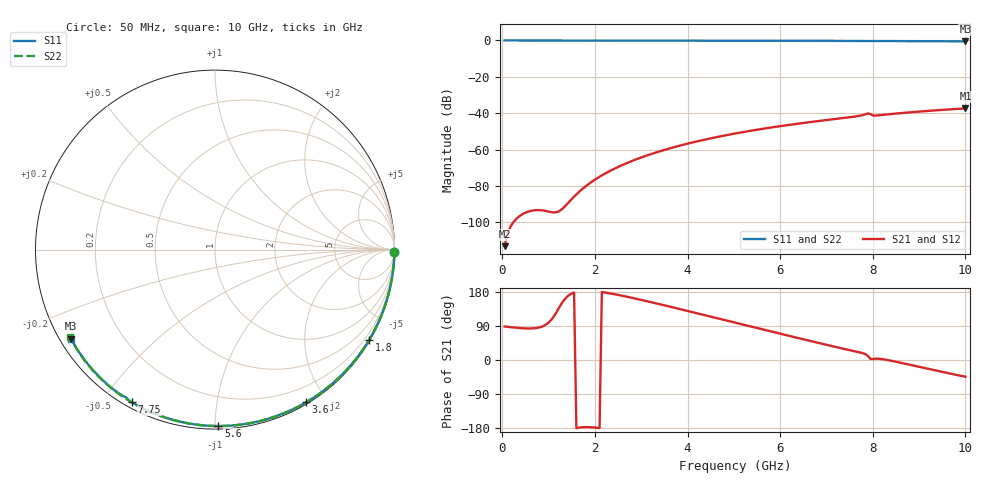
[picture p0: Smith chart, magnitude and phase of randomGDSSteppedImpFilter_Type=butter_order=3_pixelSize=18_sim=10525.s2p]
! freq	dB(S11)	phase(S11)	dB(S12)	phase(S12)
!  dB(S21)	phase(S21)	dB(S22)	phase(S22)
!S-par simulation data
#  GHz  S  DB  R 50
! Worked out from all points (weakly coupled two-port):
!   200 points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, 50 MHz to 10 GHz, reference 50 ohm
!   highest |S21| = -37.39 dB at 10 GHz (marker M1); lowest = -113.1 dB at 50 MHz (marker M2)
!   lowest |S11| = -0.5 dB at 10 GHz (marker M3), VSWR 34.09, Z = 1.58 - j14.2 ohm
!   |S11| at or under -10 dB: nowhere
!   |S22| runs from -0.5 to 0.0 dB; largest |S21 - S12| = 0
!   S11 on the Smith chart (normalised r, x): 50 MHz: open; 1.8 GHz: 0.03, -3.69; 3.6 GHz: 0.02, -1.76; 5.6 GHz: 0.02, -1.02; 7.75 GHz: 0.02, -0.59; 10 GHz: 0.03, -0.28
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0.05  -0.00 -0.9  -113.06 88.4  -113.06 88.4  -0.00 -0.9
0.9  -0.02 -15.3  -93.50 90.4  -93.50 90.4  -0.02 -15.5
1.75  -0.04 -29.5  -81.17 -177.2  -81.17 -177.2  -0.04 -29.8
1.8  -0.04 -30.3  -80.14 -177.1  -80.14 -177.1  -0.04 -30.7
2.15  -0.05 -36.1  -74.16 179.4  -74.16 179.4  -0.05 -36.5
2.5  -0.05 -41.7  -69.52 171.8  -69.52 171.8  -0.05 -42.2
2.9  -0.06 -48.2  -65.25 161.4  -65.25 161.4  -0.06 -48.7
3.4  -0.07 -56.0  -60.92 147.2  -60.92 147.2  -0.07 -56.6
3.6  -0.08 -59.1  -59.42 141.3  -59.42 141.3  -0.08 -59.7
4.3  -0.10 -69.8  -54.92 120.4  -54.92 120.4  -0.10 -70.5
5.05  -0.12 -80.9  -51.04 97.9  -51.04 97.9  -0.12 -81.7
5.6  -0.15 -88.9  -48.65 81.3  -48.65 81.3  -0.15 -89.6
6.15  -0.17 -96.6  -46.55 65.0  -46.55 65.0  -0.17 -97.4
6.7  -0.20 -104.3  -44.69 48.8  -44.69 48.8  -0.20 -105.0
7.5  -0.26 -115.1  -42.22 25.9  -42.22 25.9  -0.25 -115.9
7.75  -0.28 -118.6  -41.23 19.1  -41.23 19.1  -0.27 -119.2
7.9  -0.33 -120.7  -40.09 9.7  -40.09 9.7  -0.28 -121.2
8  -0.34 -121.6  -41.17 2.5  -41.17 2.5  -0.29 -122.5
8.05  -0.32 -122.3  -41.31 3.5  -41.31 3.5  -0.30 -123.2
8.35  -0.33 -126.4  -40.56 -0.8  -40.56 -0.8  -0.32 -127.2
9.2  -0.41 -137.6  -38.70 -23.5  -38.70 -23.5  -0.41 -138.4
10  -0.51 -148.3  -37.39 -44.1  -37.39 -44.1  -0.50 -149.0
